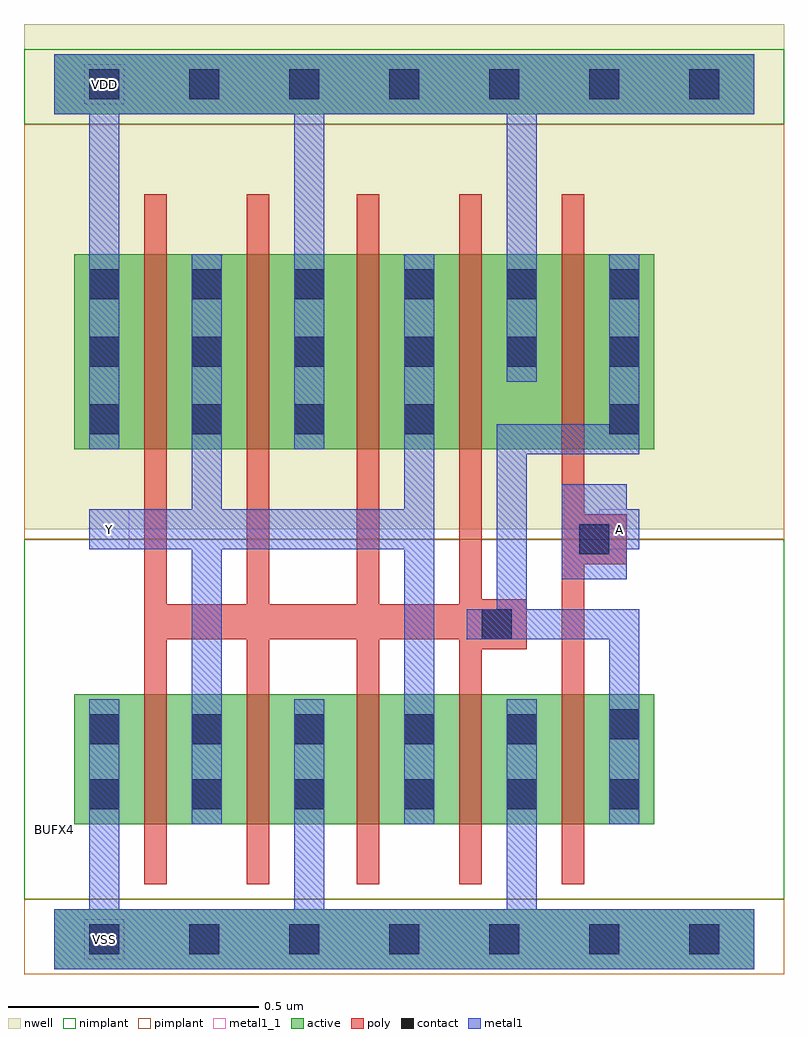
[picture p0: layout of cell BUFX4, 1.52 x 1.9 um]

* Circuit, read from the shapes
.subckt BUFX4 A VDD VSS Y
M1 Y n1 VSS VSS nfet w=0.26u l=0.045u m=4
M2 n1 A VSS VSS nfet w=0.26u l=0.045u
M3 Y n1 VDD VDD pfet w=0.39u l=0.045u m=4
M4 n1 A VDD VDD pfet w=0.39u l=0.045u
.ends

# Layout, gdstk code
import gdstk
lib = gdstk.Library(unit=1e-6, precision=5e-10)
def R(c, l, rs):  # rectangles x0, y0, x1, y1
    for r in rs: c.add(gdstk.rectangle(r[:2], r[2:], *l))
def A(c, l, x, y, w, h, nx, ny, dx, dy):  # array of equal rectangles
    R(c, l, [(x+i*dx, y+j*dy, x+i*dx+w, y+j*dy+h) for i in range(nx) for j in range(ny)])
def P(c, l, *ps):  # polygons
    for p in ps: c.add(gdstk.Polygon(p, *l))
active = (1, 0)
nwell = (2, 0)
poly = (3, 0)
nimplant = (4, 0)
pimplant = (5, 0)
contact = (6, 0)
metal1 = (7, 0)
metal1_1 = (7, 1)

bufx4 = lib.new_cell('BUFX4')
R(bufx4, active, [(0,-0.06,1.4,0.06), (0.04,0.23,1.2,0.49), (0.04,0.98,1.2,1.37), (0,1.65,1.4,1.77)])
R(bufx4, nwell, [(-0.06,0.82,1.46,1.83)])
P(bufx4, poly, [(1.145,0.85),(1.06,0.85),(1.06,1.49),(1.015,1.49),(1.015,0.11),(1.06,0.11),(1.06,0.75),(1.145,0.75)],
  [(0.945,0.68),(0.855,0.68),(0.855,1.49),(0.81,1.49),(0.81,0.67),(0.65,0.67),(0.65,1.49),(0.605,1.49),(0.605,0.67),(0.43,0.67),(0.43,1.49),(0.385,1.49),(0.385,0.67),(0.225,0.67),(0.225,1.49),(0.18,1.49),(0.18,0.11),(0.225,0.11),(0.225,0.6),(0.385,0.6),(0.385,0.11),(0.43,0.11),(0.43,0.6),(0.605,0.6),(0.605,0.11),(0.65,0.11),(0.65,0.6),(0.81,0.6),(0.81,0.11),(0.855,0.11),(0.855,0.58),(0.945,0.58)])
R(bufx4, nimplant, [(-0.06,0.08,1.46,0.8), (-0.06,1.63,1.46,1.78)])
R(bufx4, pimplant, [(-0.06,-0.07,1.46,0.08), (-0.06,0.8,1.46,1.63)])
A(bufx4, contact, 0.07, -0.03, 0.06, 0.06, 7, 2, 0.2, 1.71)
A(bufx4, contact, 0.07, 0.26, 0.06, 0.06, 3, 2, 0.205, 0.13)
A(bufx4, contact, 0.7, 0.26, 0.06, 0.06, 3, 2, 0.205, 0.885)
A(bufx4, contact, 0.07, 1.01, 0.06, 0.06, 3, 3, 0.205, 0.135)
A(bufx4, contact, 0.7, 1.28, 0.06, 0.06, 3, 1, 0.205, 0)
R(bufx4, contact, [(0.7,0.39,0.76,0.45), (0.905,0.39,0.965,0.45), (1.11,0.4,1.17,0.46), (0.855,0.6,0.915,0.66), (1.05,0.77,1.11,0.83), (0.7,1.01,0.76,1.07), (1.11,1.01,1.17,1.07)])
P(bufx4, metal1, [(1.4,1.77),(0,1.77),(0,1.65),(0.07,1.65),(0.07,0.98),(0.13,0.98),(0.13,1.65),(0.48,1.65),(0.48,0.98),(0.54,0.98),(0.54,1.65),(0.905,1.65),(0.905,1.115),(0.965,1.115),(0.965,1.65),(1.4,1.65)],
  [(1.17,0.86),(1.145,0.86),(1.145,0.91),(1.015,0.91),(1.015,0.72),(1.145,0.72),(1.145,0.78),(1.17,0.78)],
  [(1.4,0.06),(0.965,0.06),(0.965,0.48),(0.905,0.48),(0.905,0.06),(0.54,0.06),(0.54,0.48),(0.48,0.48),(0.48,0.06),(0.13,0.06),(0.13,0.48),(0.07,0.48),(0.07,0.06),(0,0.06),(0,-0.06),(1.4,-0.06)],
  [(1.17,0.66),(0.945,0.66),(0.945,0.97),(1.17,0.97),(1.17,1.37),(1.11,1.37),(1.11,1.03),(0.885,1.03),(0.885,0.66),(0.825,0.66),(0.825,0.6),(1.11,0.6),(1.11,0.23),(1.17,0.23)],
  [(0.76,1.37),(0.7,1.37),(0.7,0.86),(0.335,0.86),(0.335,1.37),(0.275,1.37),(0.275,0.86),(0.07,0.86),(0.07,0.78),(0.275,0.78),(0.275,0.23),(0.335,0.23),(0.335,0.78),(0.7,0.78),(0.7,0.23),(0.76,0.23)])
R(bufx4, metal1_1, [(0.06,-0.04,0.14,0.04), (0.07,0.78,0.15,0.86), (1.09,0.78,1.17,0.86), (0.06,1.67,0.14,1.75)])
bufx4.add(gdstk.Label('Y', (0.11,0.82), layer=7, texttype=1))
bufx4.add(gdstk.Label('A', (1.13,0.82), layer=7, texttype=1))
bufx4.add(gdstk.Label('VDD', (0.1,1.71), layer=7, texttype=1))
bufx4.add(gdstk.Label('VSS', (0.1,0), layer=7, texttype=1))
bufx4.add(gdstk.Label('BUFX4', (0,0.22), layer=63, texttype=0))

lib.write_gds('BUFX4.gds')
